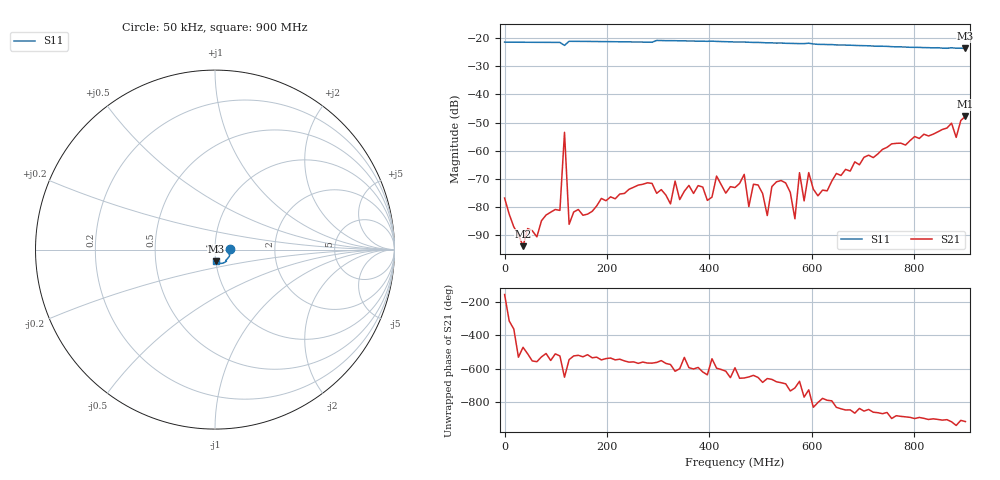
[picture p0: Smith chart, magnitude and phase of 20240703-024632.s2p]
# HZ S RI R 50
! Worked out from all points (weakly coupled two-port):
!   101 points, 50 kHz to 900 MHz, reference 50 ohm
!   highest |S21| = -47.77 dB at 900 MHz (marker M1); lowest = -93.9 dB at 36.05 MHz (marker M2)
!   lowest |S11| = -23.7 dB at 900 MHz (marker M3), VSWR 1.14, Z = 50.1 - j6.56 ohm
!   |S11| at or under -10 dB: start of sweep to end of sweep
!   S12 and S22 are empty: the file has one direction only
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50000  0.085 0.000813  -0.000131 -5.91e-05  0 0  0 0
3.6048e7  0.084 -0.00852  -7.2e-06 -1.88e-05  0 0  0 0
1.08044e8  0.0801 -0.025  -8.29e-05 -2.6e-05  0 0  0 0
1.170435e8  0.0733 -0.0113  0.000703 0.002  0 0  0 0
1.26043e8  0.0825 -0.03  -4.9e-05 3.82e-06  0 0  0 0
1.530415e8  0.0798 -0.0358  -6.96e-05 -1.52e-05  0 0  0 0
3.06033e8  0.0629 -0.0652  -0.0002 3.66e-05  0 0  0 0
4.50025e8  0.0394 -0.0757  -0.000133 0.000177  0 0  0 0
4.68024e8  0.0371 -0.0766  0.000155 0.000345  0 0  0 0
4.770235e8  0.0358 -0.0765  3.12e-05 9.64e-05  0 0  0 0
4.86023e8  0.0345 -0.0763  3.72e-05 0.00025  0 0  0 0
5.130215e8  0.0311 -0.0762  3.25e-05 6.24e-05  0 0  0 0
5.4002e8  0.0281 -0.0769  0.000233 0.00018  0 0  0 0
5.670185e8  0.0251 -0.0762  6.13e-05 6.7e-06  0 0  0 0
5.76018e8  0.024 -0.0762  0.000282 0.000293  0 0  0 0
5.850175e8  0.0235 -0.0764  8.52e-05 -9.6e-05  0 0  0 0
5.94017e8  0.0241 -0.0775  0.000406 -3.48e-05  0 0  0 0
6.030165e8  0.0215 -0.0758  -6.74e-05 -0.000195  0 0  0 0
7.56008e8  0.0118 -0.0695  -0.00132 -8.7e-05  0 0  0 0
8.730015e8  0.00605 -0.0671  -0.00296 0.000844  0 0  0 0
8.82001e8  0.00715 -0.0658  -0.00136 0.00105  0 0  0 0
9e8  0.00512 -0.0652  -0.00395 0.00103  0 0  0 0
